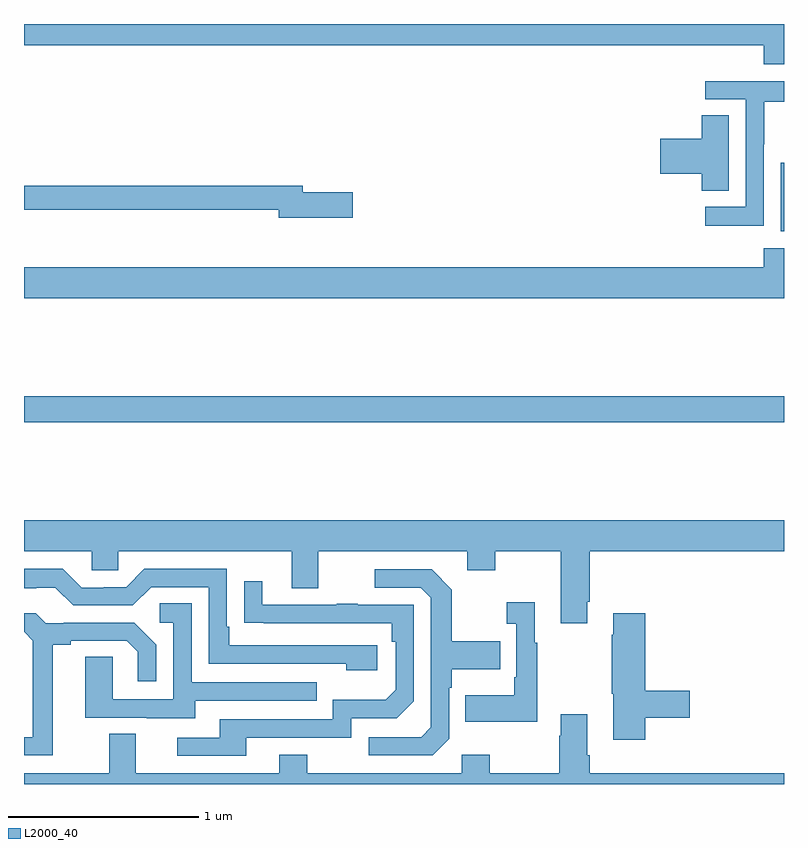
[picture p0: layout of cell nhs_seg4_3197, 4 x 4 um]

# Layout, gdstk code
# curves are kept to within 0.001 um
import gdstk
lib = gdstk.Library(unit=1e-6, precision=1e-09)
def R(c, l, rs):  # rectangles x0, y0, x1, y1
    for r in rs: c.add(gdstk.rectangle(r[:2], r[2:], *l))
def P(c, l, *ps):  # polygons
    for p in ps: c.add(gdstk.Polygon(p, *l))
L2000_40 = (2000, 40)

nhs_seg4_3197 = lib.new_cell('nhs_seg4_3197')
R(nhs_seg4_3197, L2000_40, [(279,826.804,283,826.94), (282.983,827.81,283,828.171)])
P(nhs_seg4_3197, L2000_40, [(283,828.9),(279,828.9),(279,828.788),(282.893,828.788),(282.893,828.689),(283,828.689)],
  [(282.894,828.268),(282.897,828.268),(282.897,828.492),(283,828.492),(283,828.6),(282.585,828.6),(282.585,828.504),(282.798,828.504),(282.798,827.937),(282.585,827.937),(282.585,827.839),(282.894,827.839)],
  [(282.709,828.419),(282.566,828.419),(282.566,828.296),(282.348,828.296),(282.348,828.113),(282.566,828.113),(282.566,828.022),(282.709,828.022)],
  [(280.729,828.014),(280.468,828.014),(280.468,828.05),(279,828.05),(279,827.922),(280.34,827.922),(280.34,827.879),(280.729,827.879)],
  [(283,827.719),(282.893,827.719),(282.893,827.62),(279,827.62),(279,827.456),(283,827.456)],
  [(281.965,825.859),(281.978,825.859),(281.978,826.124),(283,826.124),(283,826.288),(279,826.288),(279,826.124),(279.357,826.124),(279.357,826.026),(279.495,826.026),(279.495,826.124),(280.409,826.124),(280.409,825.93),(280.549,825.93),(280.549,826.124),(281.333,826.124),(281.333,826.025),(281.481,826.025),(281.481,826.124),(281.825,826.124),(281.825,825.747),(281.965,825.747)],
  [(280.858,825.63),(280.081,825.63),(280.081,825.727),(280.068,825.727),(280.068,826.032),(279.633,826.032),(279.537,825.936),(279.419,825.936),(279.419,825.933),(279.303,825.933),(279.203,826.033),(279,826.033),(279,825.929),(279.065,825.929),(279.065,825.933),(279.165,825.933),(279.258,825.84),(279.573,825.84),(279.669,825.936),(279.972,825.936),(279.972,825.534),(280.697,825.534),(280.697,825.5),(280.858,825.5)],
  [(281.238,825.138),(281.238,825.407),(281.251,825.407),(281.251,825.503),(281.507,825.503),(281.507,825.651),(281.251,825.651),(281.251,825.923),(281.145,826.029),(280.845,826.029),(280.845,825.933),(281.088,825.933),(281.142,825.879),(281.142,825.198),(281.091,825.147),(280.815,825.147),(280.815,825.051),(281.151,825.051)],
  [(280.171,825.144),(280.722,825.144),(280.722,825.246),(280.962,825.246),(281.052,825.336),(281.052,825.843),(280.757,825.843),(280.757,825.848),(280.645,825.848),(280.645,825.843),(280.255,825.843),(280.255,825.967),(280.159,825.967),(280.159,825.748),(280.936,825.747),(280.936,825.65),(280.956,825.65),(280.956,825.396),(280.903,825.343),(280.626,825.343),(280.626,825.24),(280.031,825.24),(280.031,825.144),(279.807,825.144),(279.807,825.048),(280.171,825.048)],
  [(281.701,825.643),(281.689,825.643),(281.689,825.856),(281.541,825.856),(281.541,825.743),(281.592,825.743),(281.592,825.463),(281.58,825.463),(281.58,825.367),(281.323,825.367),(281.323,825.227),(281.701,825.227)],
  [(279.901,825.339),(280.541,825.339),(280.541,825.435),(279.882,825.435),(279.882,825.851),(279.714,825.851),(279.714,825.75),(279.786,825.75),(279.786,825.345),(279.468,825.345),(279.468,825.569),(279.323,825.569),(279.323,825.249),(279.647,825.249),(279.647,825.245),(279.901,825.245)],
  [(282.269,825.25),(282.505,825.25),(282.505,825.392),(282.269,825.392),(282.269,825.799),(282.101,825.799),(282.101,825.686),(282.094,825.686),(282.094,825.375),(282.101,825.375),(282.101,825.132),(282.269,825.132)],
  [(279.151,825.632),(279.247,825.632),(279.247,825.654),(279.542,825.654),(279.599,825.597),(279.599,825.441),(279.696,825.441),(279.696,825.634),(279.58,825.75),(279.208,825.75),(279.208,825.747),(279.114,825.747),(279.062,825.799),(279,825.799),(279,825.702),(279.047,825.655),(279.047,825.147),(279,825.147),(279,825.051),(279.151,825.051)],
  [(283,824.956),(281.978,824.956),(281.978,825.052),(281.965,825.052),(281.965,825.268),(281.825,825.268),(281.825,825.155),(281.818,825.155),(281.818,824.956),(281.451,824.956),(281.451,825.055),(281.304,825.055),(281.304,824.956),(280.491,824.956),(280.491,825.055),(280.343,825.055),(280.343,824.956),(279.589,824.956),(279.589,825.164),(279.449,825.164),(279.449,824.956),(279,824.956),(279,824.9),(283,824.9)])

lib.write_gds('nhs_seg4_3197.gds')
